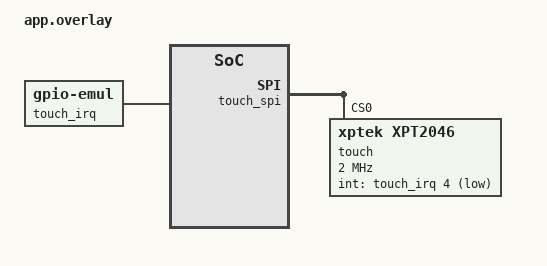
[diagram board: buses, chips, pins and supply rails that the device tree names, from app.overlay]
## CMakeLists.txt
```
# SPDX-License-Identifier: MPL-2.0
cmake_minimum_required(VERSION 3.20.0)
find_package(Zephyr REQUIRED HINTS $ENV{ZEPHYR_BASE})
project(oskey_input_tests)
target_include_directories(app PRIVATE ../../display)
target_sources(app PRIVATE src/xpt2046.c src/keyboard.c ../../display/ui_keyboard.c)
```

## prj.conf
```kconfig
# SPDX-License-Identifier: MPL-2.0
CONFIG_ZTEST=y
CONFIG_EMUL=y
CONFIG_GPIO=y
CONFIG_INPUT=y
CONFIG_INPUT_MODE_THREAD=y
CONFIG_DISPLAY=y
CONFIG_SDL_DISPLAY=n
CONFIG_LVGL=y
CONFIG_LV_COLOR_DEPTH_32=y
CONFIG_LV_Z_MEM_POOL_SIZE=65536
CONFIG_LV_Z_RUN_LVGL_ON_WORKQUEUE=n
```

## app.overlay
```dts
/* SPDX-License-Identifier: MPL-2.0 */
#include <zephyr/dt-bindings/gpio/gpio.h>

/ {
	chosen {
		zephyr,display = &test_display;
		/delete-property/ zephyr,touch;
	};

	test_display: display {
		compatible = "zephyr,dummy-dc";
		width = <320>;
		height = <240>;
	};

	touch_irq: touch-irq {
		compatible = "zephyr,gpio-emul";
		gpio-controller;
		#gpio-cells = <2>;
		ngpios = <8>;
		rising-edge;
		falling-edge;
	};

	touch_spi: spi@1000 {
		compatible = "zephyr,spi-emul-controller";
		reg = <0x1000 0x100>;
		#address-cells = <1>;
		#size-cells = <0>;

		touch: touchscreen@0 {
			compatible = "xptek,xpt2046";
			reg = <0>;
			spi-max-frequency = <2000000>;
			int-gpios = <&touch_irq 4 GPIO_ACTIVE_LOW>;
			touchscreen-size-x = <240>;
			touchscreen-size-y = <320>;
			min-x = <400>;
			max-x = <3800>;
			min-y = <300>;
			max-y = <3600>;
			swapped-x-y;
		};
	};
};

&sdl_dc {
	status = "disabled";
};

&input_sdl_touch {
	status = "disabled";
};
```

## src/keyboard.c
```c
/* SPDX-License-Identifier: MPL-2.0 */

#include <zephyr/kernel.h>
#include <zephyr/ztest.h>

#include "ui_keyboard.h"

static lv_obj_t *keyboard;
static lv_obj_t *textarea;
static lv_indev_t *pointer;
static lv_indev_state_t state;
static lv_point_t point;

static void read_pointer(lv_indev_t *indev, lv_indev_data_t *data)
{
	ARG_UNUSED(indev);
	data->state = state;
	data->point = point;
}

static void prepare(void *fixture)
{
	ARG_UNUSED(fixture);
	textarea = lv_textarea_create(lv_screen_active());
	lv_textarea_set_text(textarea, "");
	lv_obj_set_size(textarea, 320, 40);
	keyboard = ui_keyboard_create(lv_screen_active());
	lv_obj_align(keyboard, LV_ALIGN_TOP_LEFT, 0, 80);
	lv_obj_set_size(keyboard, 320, 160);
	lv_obj_set_style_pad_all(keyboard, 0, LV_PART_MAIN);
	lv_obj_set_style_pad_row(keyboard, 0, LV_PART_MAIN);
	lv_obj_set_style_pad_column(keyboard, 0, LV_PART_MAIN);
	lv_obj_set_style_border_width(keyboard, 0, LV_PART_MAIN);
	lv_keyboard_set_textarea(keyboard, textarea);
	lv_obj_update_layout(lv_screen_active());
	pointer = lv_indev_create();
	lv_indev_set_type(pointer, LV_INDEV_TYPE_POINTER);
	lv_indev_set_read_cb(pointer, read_pointer);
	lv_indev_set_long_press_time(pointer, 30);
	lv_indev_set_long_press_repeat_time(pointer, 10);
	state = LV_INDEV_STATE_RELEASED;
}

static void cleanup(void *fixture)
{
	ARG_UNUSED(fixture);
	lv_indev_delete(pointer);
	lv_obj_delete(keyboard);
	lv_obj_delete(textarea);
}

static void tap(int32_t x, int32_t y)
{
	lv_obj_update_layout(lv_screen_active());
	point = (lv_point_t){x, y};
	state = LV_INDEV_STATE_PRESSED;
	lv_indev_read(pointer);
	state = LV_INDEV_STATE_RELEASED;
	lv_indev_read(pointer);
}

static void hold(int32_t x, int32_t y, const char *expected)
{
	lv_obj_update_layout(lv_screen_active());
	point = (lv_point_t){x, y};
	state = LV_INDEV_STATE_PRESSED;
	lv_indev_read(pointer);
	zassert_str_equal(lv_textarea_get_text(textarea), expected, "Initial input: %s",
			 lv_textarea_get_text(textarea));
	/* A retained press must not keep adding characters to the textarea. */
	for (int i = 0; i < 20; i++) {
		k_sleep(K_MSEC(20));
		lv_indev_read(pointer);
	}
	zassert_str_equal(lv_textarea_get_text(textarea), expected);
	state = LV_INDEV_STATE_RELEASED;
	lv_indev_read(pointer);
	zassert_str_equal(lv_textarea_get_text(textarea), expected);
}

ZTEST(keyboard, test_held_digit_is_entered_once)
{
	lv_keyboard_set_mode(keyboard, LV_KEYBOARD_MODE_NUMBER);
	hold(10, 90, "1");
}

ZTEST(keyboard, test_layout_switches_keep_single_input)
{
	tap(10, 130); /* ABC */
	zassert_equal(lv_keyboard_get_mode(keyboard), LV_KEYBOARD_MODE_TEXT_UPPER);
	hold(42, 90, "Q");
	tap(10, 130); /* abc */
	zassert_equal(lv_keyboard_get_mode(keyboard), LV_KEYBOARD_MODE_TEXT_LOWER);
	hold(42, 90, "Qq");
	tap(10, 90); /* 1# */
	zassert_equal(lv_keyboard_get_mode(keyboard), LV_KEYBOARD_MODE_SPECIAL);
	hold(10, 90, "Qq1");
}

ZTEST(keyboard, test_separate_taps_can_repeat_the_digit)
{
	lv_keyboard_set_mode(keyboard, LV_KEYBOARD_MODE_NUMBER);
	lv_obj_update_layout(lv_screen_active());
	for (int i = 0; i < 3; i++) {
		tap(10, 90);
	}
	zassert_str_equal(lv_textarea_get_text(textarea), "111");
}

ZTEST(keyboard, test_backspace_is_single_action)
{
	lv_keyboard_set_mode(keyboard, LV_KEYBOARD_MODE_NUMBER);
	lv_textarea_set_text(textarea, "1234");
	lv_textarea_set_cursor_pos(textarea, LV_TEXTAREA_CURSOR_LAST);
	hold(250, 180, "123");
}

ZTEST_SUITE(keyboard, NULL, NULL, prepare, cleanup, NULL);
```

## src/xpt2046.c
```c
/* SPDX-License-Identifier: MPL-2.0 */
#include <errno.h>
#include <string.h>
#include <zephyr/drivers/emul.h>
#include <zephyr/drivers/gpio/gpio_emul.h>
#include <zephyr/drivers/spi_emul.h>
#include <zephyr/input/input.h>
#include <zephyr/kernel.h>
#include <zephyr/sys/atomic.h>
#include <zephyr/ztest.h>

#define TOUCH_NODE DT_NODELABEL(touch)

static const struct device *const touch = DEVICE_DT_GET(TOUCH_NODE);
static const struct gpio_dt_spec irq = GPIO_DT_SPEC_GET(TOUCH_NODE, int_gpios);
static struct k_spinlock position_lock;
static uint16_t raw_x;
static uint16_t raw_y;
static atomic_t fail_next_read;
static atomic_t failed_reads;
static atomic_t conversion_irq;

struct sample {
	int32_t x;
	int32_t y;
	bool pressed;
};

K_MSGQ_DEFINE(samples, sizeof(struct sample), 32, 4);
static struct sample pending;

static void encode(uint8_t *buffer, size_t offset, uint16_t value)
{
	buffer[offset] = value >> 5;
	buffer[offset + 1] = value << 3;
}

static int spi_io(const struct emul *emul, const struct spi_config *config,
		  const struct spi_buf_set *tx, const struct spi_buf_set *rx)
{
	ARG_UNUSED(emul);
	ARG_UNUSED(config);
	ARG_UNUSED(tx);
	if (!rx || rx->count != 1 || rx->buffers[0].len != 9) {
		return -EINVAL;
	}
	if (atomic_cas(&fail_next_read, 1, 0)) {
		atomic_inc(&failed_reads);
		return -EIO;
	}

	uint8_t *buffer = rx->buffers[0].buf;
	k_spinlock_key_t key = k_spin_lock(&position_lock);
	uint16_t x = raw_x;
	uint16_t y = raw_y;

	k_spin_unlock(&position_lock, key);
	memset(buffer, 0, 9);
	encode(buffer, 1, 600);
	encode(buffer, 3, 4095);
	encode(buffer, 5, x);
	encode(buffer, 7, y);

	if (atomic_get(&conversion_irq)) {
		/* PENIRQ changes during conversion while the contact remains held. */
		gpio_emul_input_set_dt(&irq, 1);
		gpio_emul_input_set_dt(&irq, 0);
	}
	return 0;
}

static int emul_init(const struct emul *emul, const struct device *parent)
{
	ARG_UNUSED(emul);
	ARG_UNUSED(parent);
	return 0;
}

static const struct spi_emul_api api = {.io = spi_io};
EMUL_DT_DEFINE(TOUCH_NODE, emul_init, NULL, NULL, &api, NULL);

static void input_event(struct input_event *event, void *user_data)
{
	ARG_UNUSED(user_data);
	if (event->code == INPUT_ABS_X) {
		pending.x = event->value;
	} else if (event->code == INPUT_ABS_Y) {
		pending.y = event->value;
	} else if (event->code == INPUT_BTN_TOUCH && event->sync) {
		pending.pressed = event->value;
		(void)k_msgq_put(&samples, &pending, K_NO_WAIT);
	}
}
INPUT_CALLBACK_DEFINE(DEVICE_DT_GET(TOUCH_NODE), input_event, NULL);

static void position(uint16_t x, uint16_t y)
{
	k_spinlock_key_t key = k_spin_lock(&position_lock);

	raw_x = x;
	raw_y = y;
	k_spin_unlock(&position_lock, key);
}

static struct sample next_sample(bool pressed, const struct sample *previous)
{
	int64_t deadline = k_uptime_get() + 300;
	struct sample sample;

	while (true) {
		int64_t remaining = deadline - k_uptime_get();

		if (remaining <= 0 || k_msgq_get(&samples, &sample, K_MSEC(remaining)) != 0) {
			break;
		}
		if (sample.pressed == pressed &&
		    (!previous || sample.x != previous->x || sample.y != previous->y)) {
			return sample;
		}
	}
	zassert_unreachable("Timed out waiting for %s sample", pressed ? "touch" : "release");
	return (struct sample){0};
}

static void release(void)
{
	zassert_ok(gpio_emul_input_set_dt(&irq, 1));
	(void)next_sample(false, NULL);
	struct sample extra;

	zassert_not_equal(k_msgq_get(&samples, &extra, K_MSEC(40)), 0,
			  "Touch events continued after release");
}

static void cleanup(void *fixture)
{
	ARG_UNUSED(fixture);
	gpio_emul_input_set_dt(&irq, 1);
	k_sleep(K_MSEC(150));
	k_msgq_purge(&samples);
	atomic_clear(&fail_next_read);
	atomic_clear(&failed_reads);
	atomic_clear(&conversion_irq);
}

static void prepare(void *fixture)
{
	zassert_true(device_is_ready(touch));
	zassert_true(gpio_is_ready_dt(&irq));
	cleanup(fixture);
	position(800, 900);
}

ZTEST(xpt2046, test_drag_while_irq_stays_active)
{
	zassert_ok(gpio_emul_input_set_dt(&irq, 0));
	struct sample first = next_sample(true, NULL);

	position(1800, 1600);
	struct sample second = next_sample(true, &first);

	position(3000, 2800);
	struct sample third = next_sample(true, &second);

	zassert_not_equal(first.x, third.x);
	zassert_not_equal(first.y, third.y);
	zassert_equal(gpio_pin_get_dt(&irq), 1);
	release();
}

ZTEST(xpt2046, test_spi_recovery_and_conversion_irq)
{
	atomic_set(&conversion_irq, 1);
	zassert_ok(gpio_emul_input_set_dt(&irq, 0));
	struct sample first = next_sample(true, NULL);

	atomic_set(&fail_next_read, 1);
	position(3200, 3000);
	(void)next_sample(true, &first);
	zassert_equal(atomic_get(&failed_reads), 1);
	release();
}

ZTEST(xpt2046, test_repeated_contacts)
{
	for (int contact = 0; contact < 3; contact++) {
		position(1000 + contact * 600, 1100 + contact * 600);
		zassert_ok(gpio_emul_input_set_dt(&irq, 0));
		(void)next_sample(true, NULL);
		release();
	}
}

ZTEST_SUITE(xpt2046, NULL, NULL, prepare, cleanup, NULL);
```
